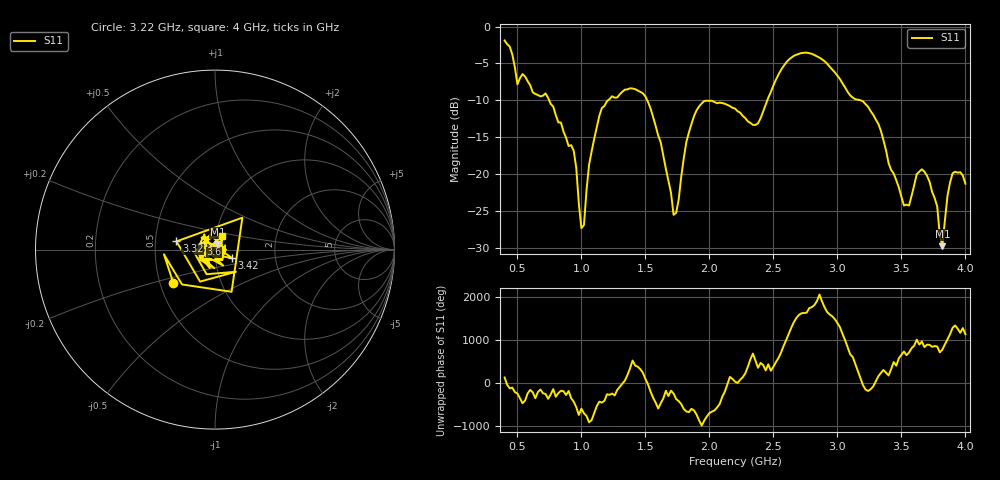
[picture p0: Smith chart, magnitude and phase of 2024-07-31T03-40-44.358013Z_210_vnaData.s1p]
!Created with skrf (http://scikit-rf.org).
# Hz S RI R 50.0
!freq ReS11 ImS11
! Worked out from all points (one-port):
!   181 points, 400 MHz to 4 GHz, reference 50 ohm
!   lowest |S11| = -29.7 dB at 3.82 GHz (marker M1), VSWR 1.07, Z = 51.3 + j3.04 ohm
!   |S11| at or under -10 dB: 748.3 MHz to 1.207 GHz (458.9 MHz wide, 46.9 % of centre); 1.515 GHz to 2.453 GHz (938.1 MHz wide, 47.3 % of centre); 3.182 GHz to end of sweep
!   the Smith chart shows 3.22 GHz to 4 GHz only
!   S11 on the Smith chart (normalised r, x): 3.22 GHz: 0.59, -0.24; 3.32 GHz: 0.64, +0.06; 3.42 GHz: 1.21, -0.11; 3.6 GHz: 0.85, +0.05; 4 GHz: 1.07, +0.17
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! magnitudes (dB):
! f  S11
! 400 MHz  -1.9
! 500 MHz  -7.8
! 720 MHz  -9.1
! 860 MHz  -14.2
! 940 MHz  -16.8
! 1 GHz  -27.3
! 1.14 GHz  -12.1
! 1.3 GHz  -9.2
! 1.5 GHz  -9.5
! 1.62 GHz  -15.7
! 1.72 GHz  -25.5
! 1.76 GHz  -23.4
! 1.82 GHz  -15.6
! 1.9 GHz  -11.3
! 2.2 GHz  -11.1
! 2.38 GHz  -13.1
! 2.66 GHz  -4.0
! 2.88 GHz  -4.4
! 3.1 GHz  -9.3
! 3.22 GHz  -10.5
! 3.32 GHz  -13.2
! 3.42 GHz  -19.4
! 3.56 GHz  -24.2
! 3.6 GHz  -21.5
! 3.7 GHz  -20.2
! 3.82 GHz  -29.7
! 3.9 GHz  -19.9
! 4 GHz  -21.3
